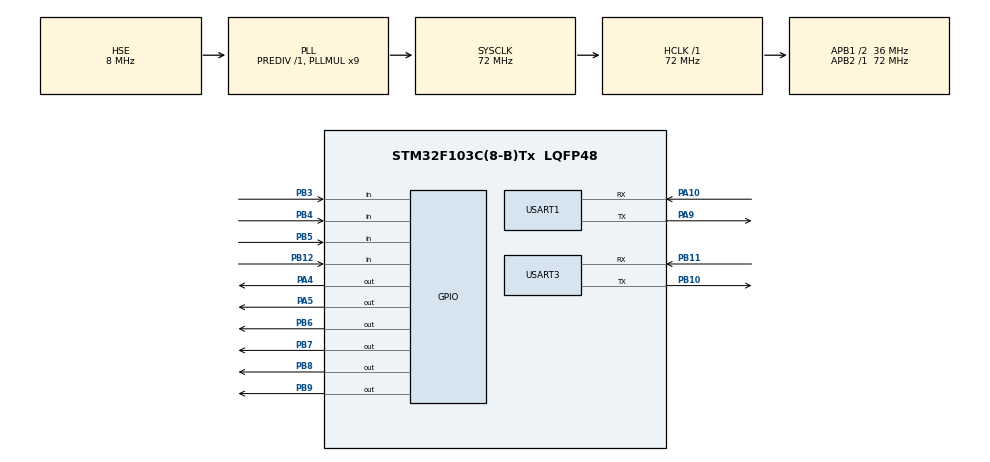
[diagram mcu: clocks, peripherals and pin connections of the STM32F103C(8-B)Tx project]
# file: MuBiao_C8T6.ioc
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Mcu.Family=STM32F1
Mcu.Name=STM32F103C(8-B)Tx
Mcu.Package=LQFP48
NVIC.PriorityGroup=NVIC_PRIORITYGROUP_4
NVIC.USART1_IRQn=true\:0\:0\:false\:false\:true\:true\:true\:true
NVIC.USART3_IRQn=true\:0\:0\:false\:false\:true\:true\:true\:true
PA10.Mode=Asynchronous
PA10.Signal=USART1_RX
PA13.Mode=Serial_Wire
PA13.Signal=SYS_JTMS-SWDIO
PA14.Mode=Serial_Wire
PA14.Signal=SYS_JTCK-SWCLK
PA4.GPIO_PuPd=GPIO_PULLUP
PA4.Signal=GPIO_Output
PA5.GPIO_PuPd=GPIO_PULLUP
PA5.Signal=GPIO_Output
PA9.Mode=Asynchronous
PA9.Signal=USART1_TX
PB10.Mode=Asynchronous
PB10.Signal=USART3_TX
PB11.Mode=Asynchronous
PB11.Signal=USART3_RX
PB12.GPIO_Mode=GPIO_MODE_INPUT
PB12.GPIO_PuPd=GPIO_PULLUP
PB12.Signal=GPIO_Input
PB3.GPIO_Mode=GPIO_MODE_INPUT
PB3.GPIO_PuPd=GPIO_PULLUP
PB3.Signal=GPIO_Input
PB4.GPIO_Mode=GPIO_MODE_INPUT
PB4.GPIO_PuPd=GPIO_PULLUP
PB4.Signal=GPIO_Input
PB5.GPIO_Mode=GPIO_MODE_INPUT
PB5.GPIO_PuPd=GPIO_PULLUP
PB5.Signal=GPIO_Input
PB6.GPIO_ModeDefaultOutputPP=GPIO_MODE_OUTPUT_PP
PB6.GPIO_PuPd=GPIO_NOPULL
PB6.GPIO_Speed=GPIO_SPEED_FREQ_HIGH
PB6.PinState=GPIO_PIN_SET
PB6.Signal=GPIO_Output
PB7.GPIO_ModeDefaultOutputPP=GPIO_MODE_OUTPUT_PP
PB7.GPIO_PuPd=GPIO_NOPULL
PB7.GPIO_Speed=GPIO_SPEED_FREQ_HIGH
PB7.PinState=GPIO_PIN_SET
PB7.Signal=GPIO_Output
PB8.GPIO_ModeDefaultOutputPP=GPIO_MODE_OUTPUT_PP
PB8.GPIO_PuPd=GPIO_NOPULL
PB8.GPIO_Speed=GPIO_SPEED_FREQ_HIGH
PB8.PinState=GPIO_PIN_SET
PB8.Signal=GPIO_Output
PB9.GPIO_ModeDefaultOutputPP=GPIO_MODE_OUTPUT_PP
PB9.GPIO_PuPd=GPIO_NOPULL
PB9.GPIO_Speed=GPIO_SPEED_FREQ_HIGH
PB9.PinState=GPIO_PIN_SET
PB9.Signal=GPIO_Output
PD0-OSC_IN.Mode=HSE-External-Oscillator
PD0-OSC_IN.Signal=RCC_OSC_IN
PD1-OSC_OUT.Mode=HSE-External-Oscillator
PD1-OSC_OUT.Signal=RCC_OSC_OUT
ProjectManager.HeapSize=0x200
ProjectManager.StackSize=0x400
ProjectManager.TargetToolchain=MDK-ARM V5.32
RCC.AHBFreq_Value=72000000
RCC.APB1CLKDivider=RCC_HCLK_DIV2
RCC.APB1Freq_Value=36000000
RCC.APB1TimFreq_Value=72000000
RCC.APB2Freq_Value=72000000
RCC.APB2TimFreq_Value=72000000
RCC.HCLKFreq_Value=72000000
RCC.PLLMUL=RCC_PLL_MUL9
RCC.PLLSourceVirtual=RCC_PLLSOURCE_HSE
RCC.SYSCLKFreq_VALUE=72000000
RCC.SYSCLKSource=RCC_SYSCLKSOURCE_PLLCLK
RCC.USBFreq_Value=72000000
USART1.VirtualMode=VM_ASYNC
USART3.VirtualMode=VM_ASYNC
board=custom

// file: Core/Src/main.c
/* USER CODE BEGIN Header */
/**
  ******************************************************************************
  * @file           : main.c
  * @brief          : Main program body
  ******************************************************************************
  * @attention
  *
  * Copyright (c) 2025 STMicroelectronics.
  * All rights reserved.
  *
  * This software is licensed under terms that can be found in the LICENSE file
  * in the root directory of this software component.
  * If no LICENSE file comes with this software, it is provided AS-IS.
  *
  ******************************************************************************
  */
/* USER CODE END Header */
#include "main.h"
#include "usart.h"
#include "gpio.h"

/* USER CODE BEGIN Includes */
#include "sys_tick.h"
#include "uart_servo_lite.h"
#include "Key.h"
#include "OLED.h"
#include "Work.h"
/* USER CODE END Includes */

void SystemClock_Config(void);
/* USER CODE BEGIN PFP */
uint16_t key_data=0;
/* USER CODE END PFP */

/* USER CODE BEGIN 0 */
int fputc(int ch,FILE *f)

{
    HAL_UART_Transmit(&huart1,(uint8_t *)&ch,1,50);

return ch;

}
uint8_t ucTemp1;
uint8_t Rx_1_Data;

/* USER CODE END 0 */

int main(void)
{

  /* MCU Configuration--------------------------------------------------------*/

  /* Reset of all peripherals, Initializes the Flash interface and the Systick. */
  HAL_Init();

  /* Configure the system clock */
  SystemClock_Config();

  /* Initialize all configured peripherals */
  MX_GPIO_Init();
  MX_USART1_UART_Init();
  MX_USART3_UART_Init();
  /* USER CODE BEGIN 2 */
    SysTick_Init();
    Usart_Init();
    OLED_Init();
    SysTick_DelayMs(1000);
  /* USER CODE END 2 */

  /* Infinite loop */
  /* USER CODE BEGIN WHILE */
  HAL_UART_Receive_IT(&huart1,&ucTemp1, sizeof(ucTemp1));
  HAL_UART_Receive_IT(&huart3,&Rx_1_Data,1);

  while (1)
  {
      All_Work();
    /* USER CODE END WHILE */

  }
}

void SystemClock_Config(void)
{
  RCC_OscInitTypeDef RCC_OscInitStruct = {0};
  RCC_ClkInitTypeDef RCC_ClkInitStruct = {0};

  /** Initializes the RCC Oscillators according to the specified parameters
  * in the RCC_OscInitTypeDef structure.
  */
  RCC_OscInitStruct.OscillatorType = RCC_OSCILLATORTYPE_HSE;
  RCC_OscInitStruct.HSEState = RCC_HSE_ON;
  RCC_OscInitStruct.HSEPredivValue = RCC_HSE_PREDIV_DIV1;
  RCC_OscInitStruct.HSIState = RCC_HSI_ON;
  RCC_OscInitStruct.PLL.PLLState = RCC_PLL_ON;
  RCC_OscInitStruct.PLL.PLLSource = RCC_PLLSOURCE_HSE;
  RCC_OscInitStruct.PLL.PLLMUL = RCC_PLL_MUL9;
  if (HAL_RCC_OscConfig(&RCC_OscInitStruct) != HAL_OK)
  {
    Error_Handler();
  }

  /** Initializes the CPU, AHB and APB buses clocks
  */
  RCC_ClkInitStruct.ClockType = RCC_CLOCKTYPE_HCLK|RCC_CLOCKTYPE_SYSCLK
                              |RCC_CLOCKTYPE_PCLK1|RCC_CLOCKTYPE_PCLK2;
  RCC_ClkInitStruct.SYSCLKSource = RCC_SYSCLKSOURCE_PLLCLK;
  RCC_ClkInitStruct.AHBCLKDivider = RCC_SYSCLK_DIV1;
  RCC_ClkInitStruct.APB1CLKDivider = RCC_HCLK_DIV2;
  RCC_ClkInitStruct.APB2CLKDivider = RCC_HCLK_DIV1;

  if (HAL_RCC_ClockConfig(&RCC_ClkInitStruct, FLASH_LATENCY_2) != HAL_OK)
  {
    Error_Handler();
  }
}

/* USER CODE BEGIN 4 */
uint8_t Rx_Pointer=0;
uint8_t Packet_type=0xFF;
uint8_t Mode_1_Package[4] = {0};
uint8_t Mode_3_1_Package[10] = {0};
uint8_t Mode_3_2_Package[4] = {0};
void HAL_UART_RxCpltCallback(UART_HandleTypeDef *huart)
{
    if(huart->Instance == USART3)
    {
        HAL_UART_Receive_IT(&huart3,&Rx_1_Data,1);

        if( Rx_1_Data == 0xFF)
        {
            Rx_Pointer=0;
            Packet_type = 0;
        }

        if( Rx_1_Data == 0xF1 && Packet_type == 0)
        {
            Packet_type = 1;
        }
        else if( Rx_1_Data == 0xF2 && Packet_type == 0)
        {
            Packet_type = 2;
        }
        else if( Rx_1_Data == 0xF3 && Packet_type == 0)
        {
            Packet_type = 3;
        }
        else
        {
            Packet_type = 0xFF;
        }

        if(Packet_type == 1)
        {
            Mode_1_Package[Rx_Pointer] = Rx_1_Data;
            Rx_Pointer++;
        }
        if(Packet_type == 2)
        {
            Mode3_Save_Data_flag = 1;
            Mode_3_1_Package[Rx_Pointer] = Rx_1_Data;
            Rx_Pointer++;
        }
        if(Packet_type == 3)
        {
            Mode_3_2_Package[Rx_Pointer] = Rx_1_Data;
            Rx_Pointer++;
        }

        if(Rx_1_Data == 0xFC)
        {
            Rx_Pointer=0;
            Packet_type=0xFF;
        }

    }

    if(huart->Instance == USART1)
    {
        HAL_UART_Receive_IT(&huart1,&ucTemp1, sizeof(ucTemp1));
        RingBuffer_Push(usart1.recvBuf, ucTemp1);
    }

}

/* USER CODE END 4 */

void Error_Handler(void)
{
  __disable_irq();
  while (1)
  {
  }
}
